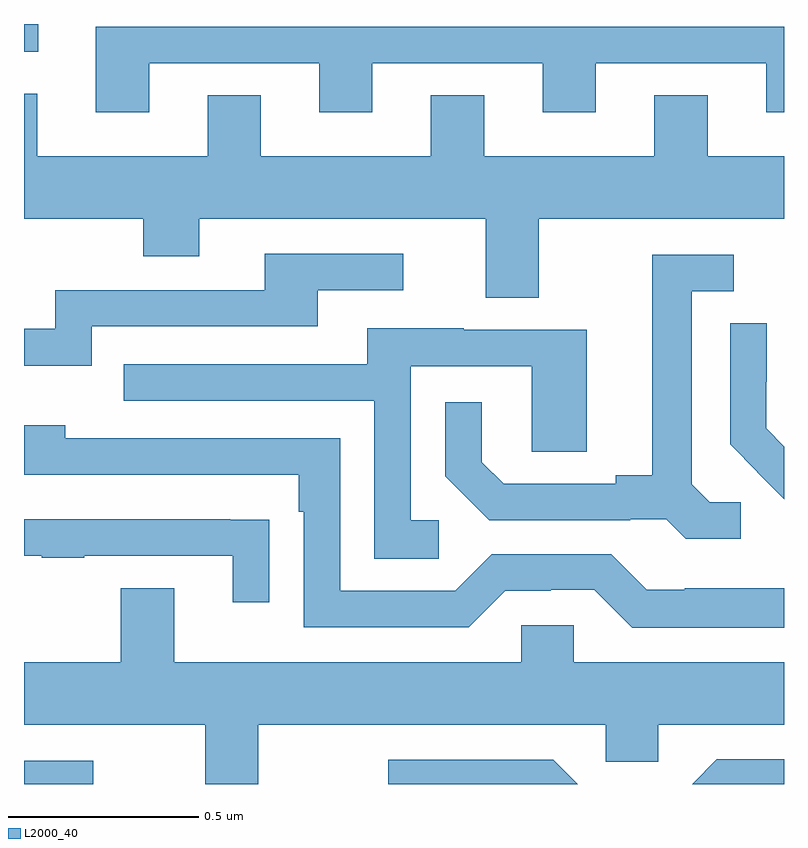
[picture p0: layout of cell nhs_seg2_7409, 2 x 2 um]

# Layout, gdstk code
import gdstk
lib = gdstk.Library(unit=1e-6, precision=1e-09)
def R(c, l, rs):  # rectangles x0, y0, x1, y1
    for r in rs: c.add(gdstk.rectangle(r[:2], r[2:], *l))
def P(c, l, *ps):  # polygons
    for p in ps: c.add(gdstk.Polygon(p, *l))
L2000_40 = (2000, 40)

nhs_seg2_7409 = lib.new_cell('nhs_seg2_7409')
R(nhs_seg2_7409, L2000_40, [(203,660.8,203.182,660.861), (203,662.727,203.038,662.8)])
P(nhs_seg2_7409, L2000_40, [(203.329,662.697),(203.777,662.697),(203.777,662.568),(203.917,662.568),(203.917,662.697),(204.365,662.697),(204.365,662.568),(204.505,662.568),(204.505,662.697),(204.953,662.697),(204.953,662.568),(205,662.568),(205,662.793),(203.189,662.793),(203.189,662.568),(203.329,662.568)],
  [(204.355,662.288),(205,662.288),(205,662.452),(204.799,662.452),(204.799,662.612),(204.659,662.612),(204.659,662.452),(204.211,662.452),(204.211,662.612),(204.071,662.612),(204.071,662.452),(203.623,662.452),(203.623,662.612),(203.483,662.612),(203.483,662.452),(203.035,662.452),(203.035,662.617),(203,662.617),(203,662.288),(203.314,662.288),(203.314,662.189),(203.461,662.189),(203.461,662.288),(204.215,662.288),(204.215,662.08),(204.355,662.08)],
  [(203.178,662.004),(203.773,662.004),(203.773,662.1),(203.998,662.1),(203.998,662.196),(203.633,662.196),(203.633,662.1),(203.082,662.1),(203.082,661.998),(203,661.998),(203,661.901),(203.178,661.901)],
  [(204.886,661.542),(204.804,661.542),(204.757,661.589),(204.757,662.097),(204.868,662.097),(204.868,662.193),(204.653,662.193),(204.653,661.613),(204.557,661.613),(204.557,661.59),(204.262,661.59),(204.205,661.647),(204.205,661.804),(204.108,661.804),(204.108,661.61),(204.224,661.494),(204.596,661.494),(204.596,661.497),(204.69,661.497),(204.742,661.445),(204.886,661.445)],
  [(205,661.688),(204.953,661.736),(204.953,661.858),(204.954,661.858),(204.954,662.012),(204.858,662.012),(204.858,661.694),(204.931,661.621),(204.93,661.62),(205,661.55)],
  [(204.091,661.494),(204.018,661.494),(204.018,661.899),(204.336,661.899),(204.336,661.675),(204.481,661.675),(204.481,661.995),(204.157,661.995),(204.157,661.999),(203.903,661.999),(203.903,661.905),(203.263,661.905),(203.263,661.809),(203.922,661.809),(203.922,661.393),(204.091,661.393)],
  [(205,661.315),(204.739,661.315),(204.739,661.311),(204.639,661.311),(204.546,661.404),(204.231,661.404),(204.135,661.308),(203.832,661.308),(203.832,661.71),(203.108,661.71),(203.108,661.744),(203,661.744),(203,661.614),(203.723,661.614),(203.723,661.517),(203.736,661.517),(203.736,661.212),(204.171,661.212),(204.267,661.308),(204.386,661.308),(204.386,661.311),(204.501,661.311),(204.601,661.211),(205,661.211)],
  [(203.645,661.496),(203.543,661.496),(203.543,661.497),(203,661.497),(203,661.401),(203.047,661.401),(203.047,661.396),(203.159,661.396),(203.159,661.401),(203.549,661.401),(203.549,661.278),(203.645,661.278)],
  [(203.617,660.956),(204.531,660.956),(204.531,660.858),(204.669,660.858),(204.669,660.956),(205,660.956),(205,661.12),(204.447,661.12),(204.447,661.218),(204.309,661.218),(204.309,661.12),(203.395,661.12),(203.395,661.315),(203.255,661.315),(203.255,661.12),(203,661.12),(203,660.956),(203.477,660.956),(203.477,660.8),(203.617,660.8)],
  [(205,660.865),(204.823,660.865),(204.758,660.8),(205,660.8)],
  [(204.393,660.864),(203.958,660.864),(203.958,660.8),(204.457,660.8)])

lib.write_gds('nhs_seg2_7409.gds')
